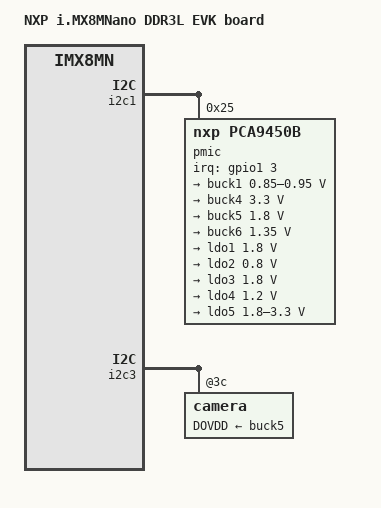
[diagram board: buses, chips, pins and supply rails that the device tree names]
// SPDX-License-Identifier: (GPL-2.0+ OR MIT)

/dts-v1/;

#include "imx8mn.dtsi"
#include "imx8mn-evk.dtsi"
#include <dt-bindings/interrupt-controller/irq.h>

/ {
	model = "NXP i.MX8MNano DDR3L EVK board";
	compatible = "fsl,imx8mn-ddr3l-evk", "fsl,imx8mn";
};

&A53_0 {
	cpu-supply = <&buck1>;
};

&A53_1 {
	cpu-supply = <&buck1>;
};

&A53_2 {
	cpu-supply = <&buck1>;
};

&A53_3 {
	cpu-supply = <&buck1>;
};

&i2c1 {
	pmic: pmic@25 {
		compatible = "nxp,pca9450b";
		reg = <0x25>;
		pinctrl-names = "default";
		pinctrl-0 = <&pinctrl_pmic>;
		interrupt-parent = <&gpio1>;
		interrupts = <3 IRQ_TYPE_LEVEL_LOW>;

		regulators {
			buck1: BUCK1 {
				regulator-name = "VDD_SOC_0V9";
				regulator-min-microvolt = <850000>;
				regulator-max-microvolt = <950000>;
				regulator-boot-on;
				regulator-always-on;
				regulator-ramp-delay = <3125>;
			};

			buck4: BUCK4 {
				regulator-name = "VDD_3V3";
				regulator-min-microvolt = <3300000>;
				regulator-max-microvolt = <3300000>;
				regulator-boot-on;
				regulator-always-on;
			};

			buck5: BUCK5 {
				regulator-name = "VDD_1V8";
				regulator-min-microvolt = <1800000>;
				regulator-max-microvolt = <1800000>;
				regulator-boot-on;
				regulator-always-on;
			};

			buck6: BUCK6 {
				regulator-name = "NVCC_DRAM_1V35";
				regulator-min-microvolt = <1350000>;
				regulator-max-microvolt = <1350000>;
				regulator-boot-on;
				regulator-always-on;
			};

			ldo1: LDO1 {
				regulator-name = "NVCC_SNVS_1V8";
				regulator-min-microvolt = <1800000>;
				regulator-max-microvolt = <1800000>;
				regulator-boot-on;
				regulator-always-on;
			};

			ldo2: LDO2 {
				regulator-name = "VDD_SNVS_0V8";
				regulator-min-microvolt = <800000>;
				regulator-max-microvolt = <800000>;
				regulator-boot-on;
				regulator-always-on;
			};

			ldo3: LDO3 {
				regulator-name = "VDDA_1V8";
				regulator-min-microvolt = <1800000>;
				regulator-max-microvolt = <1800000>;
				regulator-boot-on;
				regulator-always-on;
			};

			ldo4: LDO4 {
				regulator-name = "VDD_PHY_1V2";
				regulator-min-microvolt = <1200000>;
				regulator-max-microvolt = <1200000>;
				regulator-boot-on;
				regulator-always-on;
			};

			ldo5: LDO5 {
				regulator-name = "NVCC_SD2";
				regulator-min-microvolt = <1800000>;
				regulator-max-microvolt = <3300000>;
				regulator-boot-on;
				regulator-always-on;
			};
		};
	};
};

&i2c3 {
	camera@3c {
		DOVDD-supply = <&buck5>;
	};
};

&{/thermal-zones/cpu-thermal/cooling-maps/map0} {
	cooling-device =
					<&A53_0 THERMAL_NO_LIMIT THERMAL_NO_LIMIT>,
					<&A53_1 THERMAL_NO_LIMIT THERMAL_NO_LIMIT>,
					<&A53_2 THERMAL_NO_LIMIT THERMAL_NO_LIMIT>,
					<&A53_3 THERMAL_NO_LIMIT THERMAL_NO_LIMIT>;
};
/delete-node/ &{/display-subsystem};
/delete-node/ &adv_bridge;
/delete-node/ &gpu;
/delete-node/ &lcdif;
/delete-node/ &mipi_dsi;
